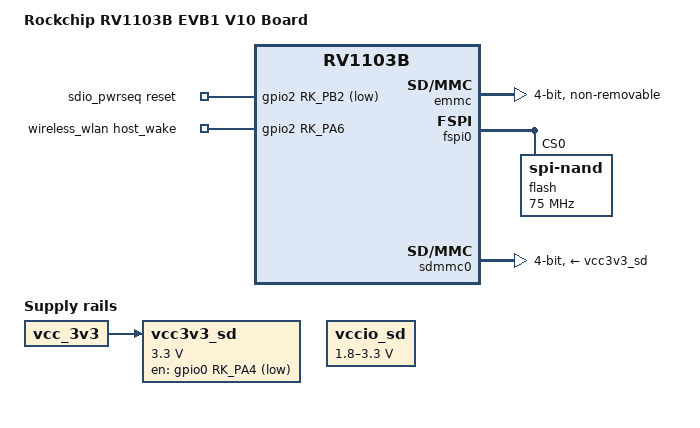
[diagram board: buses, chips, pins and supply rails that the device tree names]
// SPDX-License-Identifier: (GPL-2.0+ OR MIT)
/*
 * Copyright (c) 2026 Rockchip Electronics Co., Ltd.
 */

/dts-v1/;

#include "rv1103b.dtsi"
#include "rv1103b-evb.dtsi"
#include "rv1103b-evb-cam.dtsi"

/ {
	model = "Rockchip RV1103B EVB1 V10 Board";
	compatible = "rockchip,rv1103b-evb1-v10", "rockchip,rv1103b";

	sdio_pwrseq: sdio-pwrseq {
		compatible = "mmc-pwrseq-simple";
		pinctrl-names = "default";
		pinctrl-0 = <&wifi_enable_h &rtc_32k_pins>;

		//32.768k
		clocks = <&xin32k>;
		clock-names = "ext_clock";

		/*
		 * On the module itself this is one of these (depending
		 * on the actual card populated):
		 * - SDIO_RESET_L_WL_REG_ON
		 * - PDN (power down when low)
		 */
		post-power-on-delay-ms = <300>;
		reset-gpios = <&gpio2 RK_PB2 GPIO_ACTIVE_LOW>;
	};

	vcc3v3_sd: vcc3v3-sd {
		compatible = "regulator-fixed";
		gpio = <&gpio0 RK_PA4 GPIO_ACTIVE_LOW>;
		regulator-name = "vcc3v3_sd";
		regulator-min-microvolt = <3300000>;
		regulator-max-microvolt = <3300000>;
		pinctrl-names = "default";
		pinctrl-0 = <&sdmmc_pwren>;
		vin-supply = <&vcc_3v3>;
	};

	vccio_sd: vccio-sd {
		compatible = "regulator-gpio";
		regulator-name = "vccio_sd";
		regulator-min-microvolt = <1800000>;
		regulator-max-microvolt = <3300000>;
		gpios = <&gpio0 RK_PA3 GPIO_ACTIVE_HIGH>;
		states = <3300000 1
			  1800000 0>;
		pinctrl-names = "default";
		pinctrl-0 = <&sdmmc_volt>;
	};

	wireless_wlan: wireless-wlan {
		compatible = "wlan-platdata";
		wifi_chip_type = "rtl8189fs";
		pinctrl-names = "default";
		pinctrl-0 = <&wifi_host_wake_irq>;
		WIFI,host_wake-gpios = <&gpio2 RK_PA6 GPIO_ACTIVE_HIGH>;
		status = "okay";
	};
};

&pinctrl {
	sdio-pwrseq {
		wifi_enable_h: wifi-enable-h {
			rockchip,pins = <2 RK_PB2 RK_FUNC_GPIO &pcfg_pull_none>; };
	};

	sdmmc {
		/omit-if-no-ref/
		sdmmc_pwren: sdmmc-pwren {
			rockchip,pins = <0 RK_PA4 RK_FUNC_GPIO &pcfg_pull_none>;
		};

		/omit-if-no-ref/
		sdmmc_volt: sdmmc-volt {
			rockchip,pins = <0 RK_PA3 RK_FUNC_GPIO &pcfg_pull_none>;
		};
	};

	wireless-wlan {
		wifi_host_wake_irq: wifi-host-wake-irq {
			rockchip,pins = <2 RK_PA6 RK_FUNC_GPIO &pcfg_pull_none>;
		};
	};
};

&emmc {
	no-sdio;
	no-sd;
	bus-width = <4>;
	cap-mmc-highspeed;
	non-removable;
	mmc-hs200-1_8v;
	status = "okay";
};

&fspi0 {
	status = "okay";

	flash@0 {
		compatible = "spi-nand";
		reg = <0>;
		spi-max-frequency = <75000000>;
		spi-rx-bus-width = <4>;
		spi-tx-bus-width = <1>;
	};
};

&sdmmc0 {
	no-sdio;
	no-mmc;
	bus-width = <4>;
	cap-mmc-highspeed;
	cap-sd-highspeed;
	disable-wp;
	sd-uhs-sdr104;
	vmmc-supply = <&vcc3v3_sd>;
	vqmmc-supply = <&vccio_sd>;
	status = "okay";
};

&sdmmc1 {
	max-frequency = <150000000>;
	no-sd;
	no-mmc;
	bus-width = <4>;
	cap-sd-highspeed;
	cap-sdio-irq;
	keep-power-in-suspend;
	mmc-pwrseq = <&sdio_pwrseq>;
	non-removable;
	pinctrl-names = "default";
	pinctrl-0 = <&sdmmc1_cmd_pins &sdmmc1_clk_pins &sdmmc1_bus4_pins>;
	status = "disabled";
};
